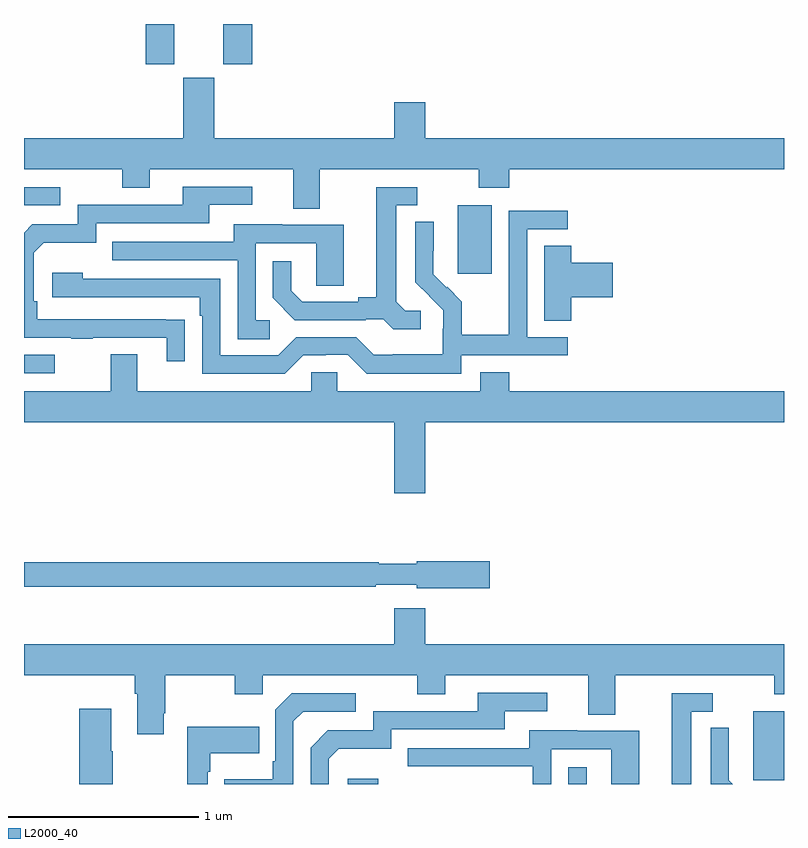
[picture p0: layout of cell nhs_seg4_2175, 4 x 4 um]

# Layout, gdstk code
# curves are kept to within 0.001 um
import gdstk
lib = gdstk.Library(unit=1e-6, precision=1e-09)
def R(c, l, rs):  # rectangles x0, y0, x1, y1
    for r in rs: c.add(gdstk.rectangle(r[:2], r[2:], *l))
def P(c, l, *ps):  # polygons
    for p in ps: c.add(gdstk.Polygon(p, *l))
L2000_40 = (2000, 40)

nhs_seg4_2175 = lib.new_cell('nhs_seg4_2175')
R(nhs_seg4_2175, L2000_40, [(224.703,810.9,224.864,810.928), (225.864,810.9,225.961,810.988), (226.838,810.921,227,811.282), (223,813.063,223.162,813.159), (225.284,813.585,225.463,813.946), (223,813.945,223.192,814.041), (223.64,814.689,223.792,814.9), (224.048,814.689,224.201,814.9)])
P(nhs_seg4_2175, L2000_40, [(224.557,814.136),(225.394,814.136),(225.394,814.037),(225.554,814.037),(225.554,814.136),(227,814.136),(227,814.3),(225.112,814.3),(225.112,814.489),(224.948,814.489),(224.948,814.3),(224.002,814.3),(224.002,814.617),(223.838,814.617),(223.838,814.3),(223,814.3),(223,814.136),(223.516,814.136),(223.516,814.037),(223.663,814.037),(223.663,814.136),(224.417,814.136),(224.417,813.928),(224.557,813.928)],
  [(223.847,813.344),(223.07,813.345),(223.07,813.442),(223.05,813.442),(223.05,813.696),(223.103,813.749),(223.38,813.749),(223.38,813.852),(223.975,813.852),(223.975,813.948),(224.2,813.948),(224.2,814.044),(223.835,814.044),(223.835,813.948),(223.284,813.948),(223.284,813.846),(223.044,813.846),(223,813.802),(223,813.249),(223.249,813.249),(223.249,813.244),(223.361,813.244),(223.361,813.249),(223.751,813.249),(223.751,813.126),(223.847,813.126)],
  [(225.088,813.39),(225.006,813.39),(224.959,813.437),(224.959,813.945),(225.07,813.945),(225.07,814.041),(224.855,814.041),(224.855,813.461),(224.759,813.461),(224.759,813.438),(224.464,813.438),(224.407,813.495),(224.407,813.652),(224.31,813.652),(224.31,813.458),(224.426,813.342),(224.798,813.342),(224.798,813.345),(224.892,813.345),(224.944,813.293),(225.088,813.293)],
  [(225.3,813.156),(225.862,813.156),(225.862,813.252),(225.648,813.252),(225.648,813.819),(225.862,813.819),(225.862,813.918),(225.552,813.918),(225.552,813.488),(225.55,813.488),(225.55,813.265),(225.305,813.265),(225.305,813.439),(225.228,813.516),(225.225,813.513),(225.155,813.584),(225.156,813.86),(225.06,813.86),(225.06,813.542),(225.206,813.394),(225.206,813.297),(225.204,813.297),(225.204,813.163),(224.941,813.163),(224.941,813.159),(224.841,813.159),(224.748,813.252),(224.433,813.252),(224.337,813.156),(224.034,813.156),(224.034,813.558),(223.31,813.558),(223.31,813.592),(223.149,813.592),(223.149,813.462),(223.925,813.462),(223.925,813.365),(223.938,813.365),(223.938,813.06),(224.373,813.06),(224.469,813.156),(224.588,813.156),(224.588,813.159),(224.703,813.159),(224.803,813.059),(225.3,813.059)],
  [(224.293,813.342),(224.22,813.342),(224.22,813.747),(224.538,813.747),(224.538,813.523),(224.683,813.523),(224.683,813.843),(224.359,813.843),(224.359,813.847),(224.105,813.847),(224.105,813.753),(223.465,813.753),(223.465,813.657),(224.124,813.657),(224.124,813.241),(224.293,813.241)],
  [(225.881,813.461),(226.099,813.461),(226.099,813.644),(225.881,813.644),(225.881,813.734),(225.737,813.734),(225.737,813.337),(225.881,813.337)],
  [(225.112,812.804),(227,812.804),(227,812.968),(225.554,812.968),(225.554,813.067),(225.401,813.067),(225.401,812.968),(224.649,812.968),(224.649,813.066),(224.511,813.066),(224.511,812.968),(223.597,812.968),(223.597,813.163),(223.457,813.163),(223.457,812.968),(223,812.968),(223,812.804),(224.948,812.804),(224.948,812.43),(225.112,812.43)],
  [(225.451,812.072),(225.066,812.072),(225.066,812.059),(224.866,812.059),(224.866,812.066),(223,812.066),(223,811.938),(224.852,811.938),(224.852,811.95),(225.066,811.95),(225.066,811.93),(225.451,811.93)],
  [(223.735,811.273),(223.743,811.273),(223.743,811.472),(224.11,811.472),(224.11,811.373),(224.256,811.373),(224.256,811.472),(225.07,811.472),(225.07,811.373),(225.217,811.373),(225.217,811.472),(225.971,811.472),(225.971,811.264),(226.111,811.264),(226.111,811.472),(226.948,811.472),(226.948,811.373),(227,811.373),(227,811.636),(225.112,811.636),(225.112,811.825),(224.948,811.825),(224.948,811.636),(223,811.636),(223,811.472),(223.583,811.472),(223.583,811.376),(223.595,811.376),(223.595,811.161),(223.735,811.161)],
  [(224.604,811.032),(224.657,811.085),(224.934,811.085),(224.934,811.188),(225.529,811.188),(225.529,811.284),(225.754,811.284),(225.754,811.38),(225.389,811.38),(225.389,811.284),(224.838,811.284),(224.838,811.182),(224.598,811.182),(224.508,811.092),(224.508,810.9),(224.604,810.9)],
  [(224.418,811.23),(224.469,811.281),(224.746,811.281),(224.746,811.377),(224.409,811.377),(224.322,811.29),(224.322,811.021),(224.31,811.021),(224.31,810.925),(224.053,810.925),(224.053,810.9),(224.418,810.9)],
  [(226.513,811.281),(226.624,811.281),(226.624,811.377),(226.409,811.377),(226.409,810.9),(226.513,810.9)],
  [(223.467,811.073),(223.459,811.073),(223.459,811.297),(223.292,811.297),(223.292,810.9),(223.467,810.9)],
  [(223.968,810.965),(223.981,810.965),(223.981,811.061),(224.237,811.061),(224.237,811.201),(223.86,811.201),(223.86,810.9),(223.968,810.9)],
  [(226.709,810.92),(226.709,811.042),(226.71,811.042),(226.71,811.196),(226.614,811.196),(226.614,810.9),(226.729,810.9)],
  [(225.774,811.083),(226.092,811.083),(226.092,810.9),(226.237,810.9),(226.237,811.179),(225.913,811.179),(225.913,811.183),(225.659,811.183),(225.659,811.089),(225.019,811.089),(225.019,810.993),(225.678,810.993),(225.678,810.9),(225.774,810.9)])

lib.write_gds('nhs_seg4_2175.gds')
